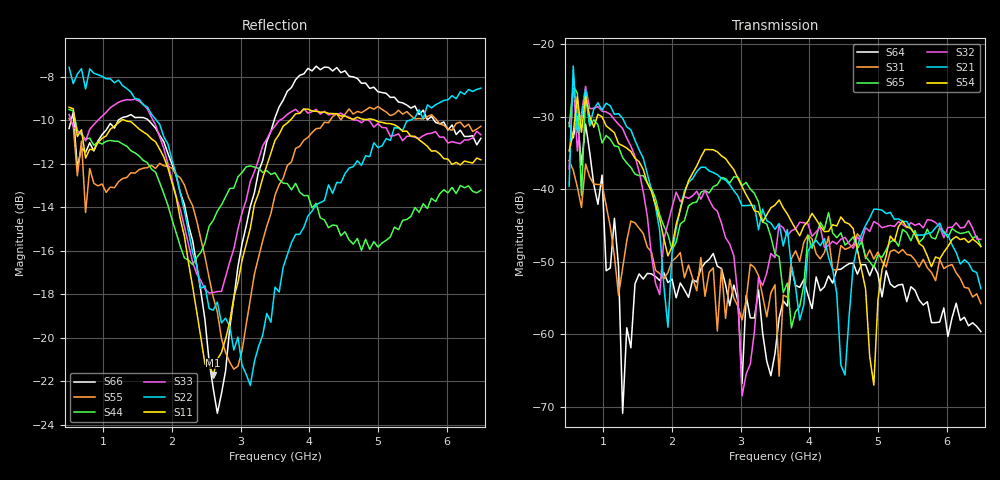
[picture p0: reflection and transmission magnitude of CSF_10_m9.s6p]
!Keysight Technologies,M9804A,MY58100912,A.14.10.03
!Date: Thursday, April 27, 2023 10:28:33
!Correction: S11(C  6-Port  )
!S12(C  6-Port  )
!S13(C  6-Port  )
!S14(C  6-Port  )
!S15(C  6-Port  )
!S16(C  6-Port  )
!S21(C  6-Port  )
!S22(C  6-Port  )
!S23(C  6-Port  )
!S24(C  6-Port  )
!S25(C  6-Port  )
!S26(C  6-Port  )
!S31(C  6-Port  )
!S32(C  6-Port  )
!S33(C  6-Port  )
!S34(C  6-Port  )
!S35(C  6-Port  )
!S36(C  6-Port  )
!S41(C  6-Port  )
!S42(C  6-Port  )
!S43(C  6-Port  )
!S44(C  6-Port  )
!S45(C  6-Port  )
!S46(C  6-Port  )
!S51(C  6-Port  )
!S52(C  6-Port  )
!S53(C  6-Port  )
!S54(C  6-Port  )
!S55(C  6-Port  )
!S56(C  6-Port  )
!S61(C  6-Port  )
!S62(C  6-Port  )
!S63(C  6-Port  )
!S64(C  6-Port  )
!S65(C  6-Port  )
!S66(C  6-Port  )
!S6P File: Measurement: :
# Hz S  RI  R 50
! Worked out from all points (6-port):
!   101 points, 500 MHz to 6.5 GHz, reference 50 ohm
!   strongest paths, dB at 500 MHz, 2 GHz, 3.5 GHz, 5 GHz, 6.5 GHz:
!     S54: -34.7, -47.9, -42.2, -55.3, -47.9
!     S21: -39.6, -48.8, -45.5, -42.8, -53.7
!     S32: -37.2, -42.5, -49.4, -44.8, -46.9
!     S65: -31.4, -48.3, -48.9, -49.1, -47.9
!     S31: -36.1, -49.9, -53.2, -48.6, -55.8
!     S64: -30.9, -52.4, -62.6, -51.7, -59.6
!   lowest |S11| = -21.7 dB at 2.6 GHz (marker M1), VSWR 1.18, Z = 42.7 + j1.97 ohm
!   |S11| at or under -10 dB: 584.8 MHz to 1.264 GHz (679.5 MHz wide, 73.5 % of centre); 1.309 GHz to 3.721 GHz (2.413 GHz wide, 95.9 % of centre); 4.958 GHz to end of sweep
